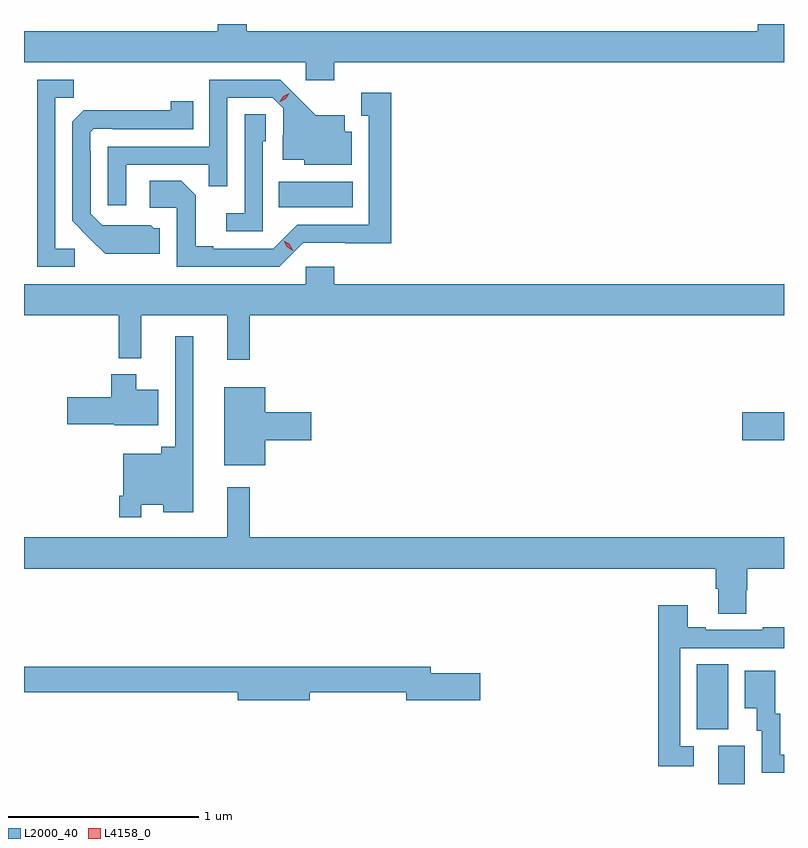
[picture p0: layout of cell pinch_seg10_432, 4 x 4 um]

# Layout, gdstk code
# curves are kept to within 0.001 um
import gdstk
lib = gdstk.Library(unit=1e-6, precision=1e-09)
def R(c, l, rs):  # rectangles x0, y0, x1, y1
    for r in rs: c.add(gdstk.rectangle(r[:2], r[2:], *l))
def P(c, l, *ps):  # polygons
    for p in ps: c.add(gdstk.Polygon(p, *l))
L2000_40 = (2000, 40)
L4158_0 = (4158, 0)

pinch_seg10_432 = lib.new_cell('pinch_seg10_432')
R(pinch_seg10_432, L2000_40, [(342.587,1304.51,342.727,1304.712), (342.476,1304.797,342.64,1305.14), (342.714,1306.319,342.934,1306.466), (340.276,1307.546,340.663,1307.68)])
P(pinch_seg10_432, L2000_40, [(340.568,1308.308),(342.934,1308.308),(342.934,1308.51),(342.797,1308.51),(342.797,1308.472),(340.106,1308.472),(340.106,1308.51),(339.954,1308.51),(339.954,1308.472),(338.934,1308.472),(338.934,1308.308),(340.416,1308.308),(340.416,1308.213),(340.568,1308.213)],
  [(339.471,1307.769),(339.907,1307.769),(339.907,1307.656),(340.005,1307.656),(340.005,1308.123),(340.242,1308.123),(340.299,1308.066),(340.299,1307.924),(340.295,1307.924),(340.295,1307.795),(340.41,1307.795),(340.41,1307.768),(340.66,1307.768),(340.66,1307.944),(340.621,1307.944),(340.621,1308.031),(340.469,1308.031),(340.282,1308.216),(339.909,1308.216),(339.909,1307.865),(339.375,1307.865),(339.375,1307.556),(339.471,1307.556)],
  [(339.202,1307.328),(339.099,1307.328),(339.099,1308.121),(339.195,1308.121),(339.195,1308.216),(339.003,1308.216),(339.003,1307.232),(339.202,1307.232)],
  [(340.404,1307.358),(340.867,1307.357),(340.867,1308.148),(340.709,1308.148),(340.709,1308.027),(340.748,1308.027),(340.748,1307.454),(340.371,1307.454),(340.245,1307.328),(339.931,1307.328),(339.931,1307.341),(339.837,1307.341),(339.837,1307.608),(339.761,1307.684),(339.597,1307.684),(339.597,1307.544),(339.738,1307.544),(339.738,1307.232),(340.278,1307.232)],
  [(339.649,1307.436),(339.618,1307.436),(339.602,1307.452),(339.345,1307.451),(339.285,1307.511),(339.285,1307.84),(339.282,1307.84),(339.282,1307.94),(339.3,1307.958),(339.4,1307.958),(339.4,1307.955),(339.824,1307.955),(339.824,1308.103),(339.706,1308.103),(339.706,1308.056),(339.248,1308.055),(339.189,1307.996),(339.189,1307.474),(339.361,1307.3),(339.649,1307.3)],
  [(340.191,1307.892),(340.206,1307.892),(340.206,1308.035),(340.095,1308.035),(340.095,1307.515),(339.999,1307.515),(339.999,1307.418),(340.191,1307.418)],
  [(340.121,1306.976),(342.934,1306.976),(342.934,1307.14),(340.568,1307.14),(340.568,1307.233),(340.416,1307.233),(340.416,1307.14),(338.934,1307.14),(338.934,1306.976),(339.433,1306.976),(339.433,1306.751),(339.551,1306.751),(339.551,1306.976),(340.004,1306.976),(340.004,1306.743),(340.121,1306.743)],
  [(339.552,1305.98),(339.668,1305.98),(339.668,1305.941),(339.826,1305.941),(339.826,1306.867),(339.729,1306.867),(339.729,1306.285),(339.656,1306.285),(339.656,1306.249),(339.456,1306.249),(339.456,1306.027),(339.436,1306.027),(339.436,1305.915),(339.552,1305.915)],
  [(339.64,1306.585),(339.526,1306.585),(339.526,1306.666),(339.392,1306.666),(339.392,1306.545),(339.162,1306.545),(339.162,1306.403),(339.408,1306.403),(339.408,1306.397),(339.64,1306.397)],
  [(340.204,1306.319),(340.447,1306.319),(340.447,1306.466),(340.204,1306.466),(340.204,1306.597),(339.989,1306.597),(339.989,1306.187),(340.204,1306.187)],
  [(342.735,1305.531),(342.74,1305.531),(342.74,1305.644),(342.934,1305.644),(342.934,1305.808),(340.121,1305.808),(340.121,1306.072),(340.004,1306.072),(340.004,1305.808),(338.934,1305.808),(338.934,1305.644),(342.575,1305.644),(342.575,1305.538),(342.587,1305.538),(342.587,1305.406),(342.735,1305.406)],
  [(342.46,1304.709),(342.387,1304.709),(342.387,1305.225),(342.934,1305.225),(342.934,1305.334),(342.823,1305.334),(342.823,1305.321),(342.523,1305.321),(342.523,1305.334),(342.427,1305.334),(342.427,1305.451),(342.271,1305.451),(342.271,1304.604),(342.46,1304.604)],
  [(340.438,1304.992),(340.946,1304.992),(340.946,1304.95),(341.335,1304.95),(341.335,1305.092),(341.074,1305.092),(341.074,1305.128),(338.934,1305.128),(338.934,1304.992),(340.058,1304.992),(340.058,1304.95),(340.438,1304.95)],
  [(342.934,1304.664),(342.913,1304.664),(342.913,1304.88),(342.889,1304.88),(342.889,1305.106),(342.728,1305.106),(342.728,1304.909),(342.791,1304.909),(342.791,1304.79),(342.816,1304.79),(342.816,1304.568),(342.934,1304.568)])
P(pinch_seg10_432, L4158_0, [(340.349,1307.317),(340.317,1307.337),(340.3,1307.37),(340.3,1307.37),(340.3,1307.37),(340.332,1307.35),(340.349,1307.318),(340.349,1307.317)],
  [(340.281,1308.1),(340.281,1308.1),(340.299,1308.13),(340.329,1308.146),(340.329,1308.146),(340.329,1308.145),(340.312,1308.116),(340.282,1308.1)])

lib.write_gds('pinch_seg10_432.gds')
